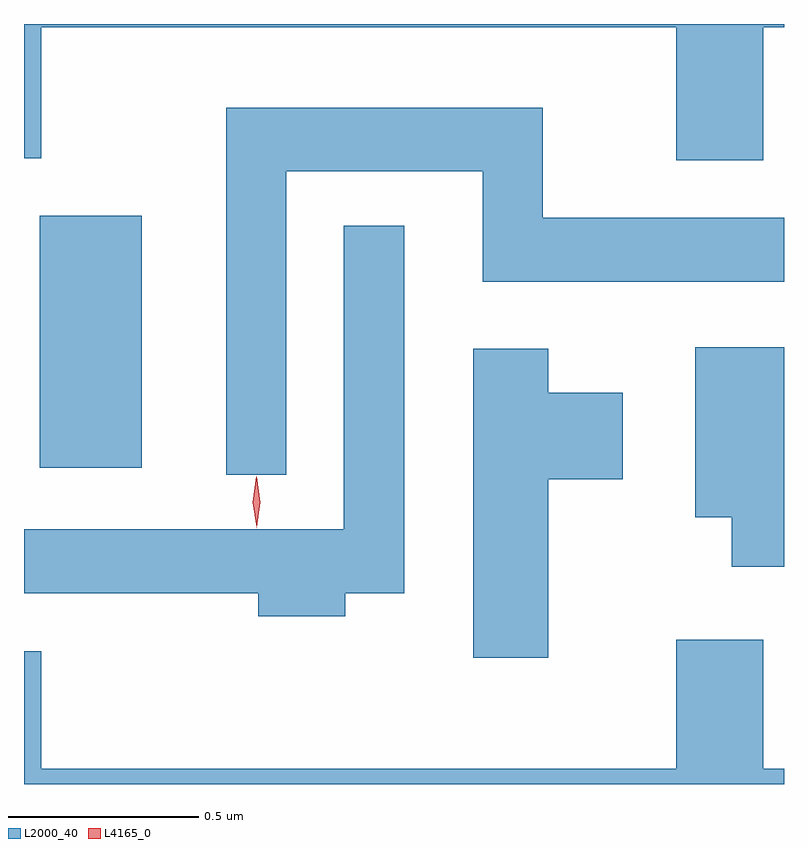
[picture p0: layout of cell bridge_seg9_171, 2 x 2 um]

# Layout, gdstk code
import gdstk
lib = gdstk.Library(unit=1e-6, precision=1e-09)
def R(c, l, rs):  # rectangles x0, y0, x1, y1
    for r in rs: c.add(gdstk.rectangle(r[:2], r[2:], *l))
def P(c, l, *ps):  # polygons
    for p in ps: c.add(gdstk.Polygon(p, *l))
L2000_40 = (2000, 40)
L4165_0 = (4165, 0)

bridge_seg9_171 = lib.new_cell('bridge_seg9_171')
R(bridge_seg9_171, L2000_40, [(1411.106,2077.236,1411.374,2077.899)])
P(bridge_seg9_171, L2000_40, [(1413.009,2078.396),(1413.064,2078.396),(1413.064,2078.404),(1411.064,2078.404),(1411.064,2078.051),(1411.109,2078.051),(1411.109,2078.396),(1412.781,2078.396),(1412.781,2078.046),(1413.009,2078.046)],
  [(1411.754,2078.016),(1412.271,2078.016),(1412.271,2077.726),(1413.064,2077.726),(1413.064,2077.894),(1412.429,2077.894),(1412.429,2078.184),(1411.596,2078.184),(1411.596,2077.218),(1411.754,2077.218)],
  [(1411.909,2076.906),(1412.064,2076.906),(1412.064,2077.873),(1411.906,2077.873),(1411.906,2077.074),(1411.064,2077.074),(1411.064,2076.906),(1411.681,2076.906),(1411.681,2076.846),(1411.909,2076.846)],
  [(1413.064,2077.554),(1412.831,2077.554),(1412.831,2077.106),(1412.926,2077.106),(1412.926,2076.976),(1413.064,2076.976)],
  [(1412.444,2077.206),(1412.639,2077.206),(1412.639,2077.434),(1412.444,2077.434),(1412.444,2077.549),(1412.246,2077.549),(1412.246,2076.736),(1412.444,2076.736)],
  [(1413.064,2076.444),(1413.009,2076.444),(1413.009,2076.784),(1412.781,2076.784),(1412.781,2076.444),(1411.109,2076.444),(1411.109,2076.754),(1411.064,2076.754),(1411.064,2076.404),(1413.064,2076.404)])
P(bridge_seg9_171, L4165_0, [(1411.676,2077.079),(1411.676,2077.08),(1411.666,2077.146),(1411.675,2077.212),(1411.676,2077.213),(1411.676,2077.212),(1411.686,2077.146),(1411.676,2077.08)])

lib.write_gds('bridge_seg9_171.gds')
